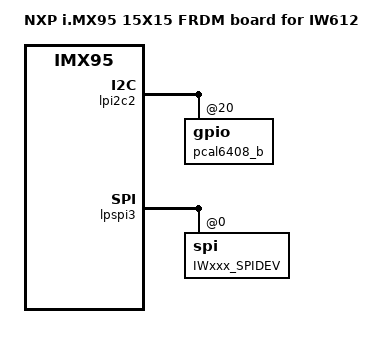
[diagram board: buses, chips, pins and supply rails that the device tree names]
// SPDX-License-Identifier: (GPL-2.0+ OR MIT)
/*
 * Copyright 2026 NXP
 */

/* Supported for chipsets:
 - IW61x
 Chip support list end */

#include "imx95-15x15-frdm.dts"

/ {
	model = "NXP i.MX95 15X15 FRDM board for IW612";
};

&lpuart5 {
	bluetooth {
		fw-init-baudrate = <3000000>;
	};
};

/* Add GPIO naming for imx_otbr_gpiochip_spidev_cfg.sh auto-detection */
&lpi2c2 {
	pcal6408_b: gpio@20 {
		gpio-line-names = "IWxxx_NB_SPI_ENA", "IWxxx_NB_IND_RST_15_4";
	};
};

/* SPI INT on GPIO5_IO8 (EKEY_nARET_1.8), named for script detection */
&gpio5 {
	gpio-line-names = "", "", "", "", "", "", "", "", "IWxxx_NB_SPI_INT";
};

/* Add spidev label for script to locate correct spidev device via sysfs */
&lpspi3 {
	fsl,spi-num-chipselects = <1>;
	spidev0: spi@0 {
		spi-cs-inactive-delay-ns = <50000>;
		label = "IWxxx_SPIDEV";
	};
};
